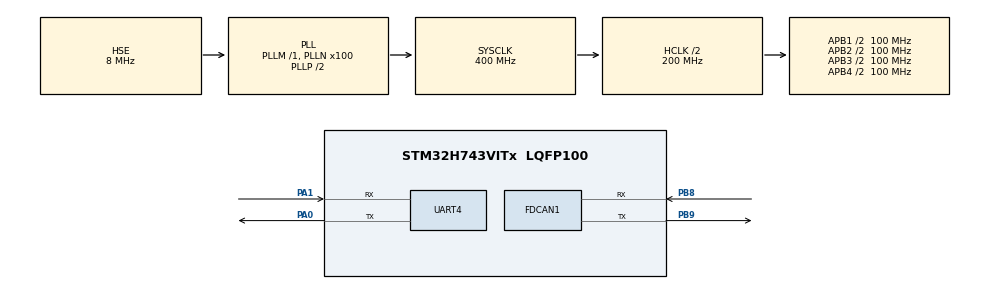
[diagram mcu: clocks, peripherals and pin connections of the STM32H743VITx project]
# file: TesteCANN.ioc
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FDCAN1.DataSyncJumpWidth=2
FDCAN1.DataTimeSeg1=13
FDCAN1.DataTimeSeg2=2
FDCAN1.NominalSyncJumpWidth=2
FDCAN1.NominalTimeSeg1=13
FDCAN1.RxBuffersNbr=32
FDCAN1.RxFifo0ElmtsNbr=32
FDCAN1.RxFifo1ElmtsNbr=32
FDCAN1.TxBuffersNbr=32
FDCAN1.TxEventsNbr=32
FDCAN1.TxFifoQueueElmtsNbr=32
Mcu.Family=STM32H7
Mcu.Name=STM32H743VITx
Mcu.Package=LQFP100
NVIC.FDCAN1_IT0_IRQn=true\:0\:0\:false\:false\:true\:true\:true
NVIC.FDCAN1_IT1_IRQn=true\:0\:0\:false\:false\:true\:true\:true
NVIC.PriorityGroup=NVIC_PRIORITYGROUP_4
PA0.Mode=Asynchronous
PA0.PinAttribute=Free
PA0.Signal=UART4_TX
PA1.Mode=Asynchronous
PA1.PinAttribute=Free
PA1.Signal=UART4_RX
PB8.Mode=FDCAN_Activate
PB8.PinAttribute=Free
PB8.Signal=FDCAN1_RX
PB9.Mode=FDCAN_Activate
PB9.PinAttribute=Free
PB9.Signal=FDCAN1_TX
PH0-OSC_IN\ (PH0).Mode=HSE-External-Oscillator
PH0-OSC_IN\ (PH0).Signal=RCC_OSC_IN
PH1-OSC_OUT\ (PH1).Mode=HSE-External-Oscillator
PH1-OSC_OUT\ (PH1).PinAttribute=Free
PH1-OSC_OUT\ (PH1).Signal=RCC_OSC_OUT
ProjectManager.HeapSize=0x200
ProjectManager.StackSize=0x400
ProjectManager.TargetToolchain=STM32CubeIDE
RCC.ADCCLockSelection=RCC_ADCCLKSOURCE_PLL2
RCC.ADCFreq_Value=80000000
RCC.APB1Freq_Value=100000000
RCC.APB2Freq_Value=100000000
RCC.APB3Freq_Value=100000000
RCC.APB4Freq_Value=100000000
RCC.CECCLockSelection=RCC_CECCLKSOURCE_LSI
RCC.CKPERSourceSelection=RCC_CLKPSOURCE_HSI
RCC.CSI_VALUE=4000000
RCC.CortexFreq_Value=400000000
RCC.Cortex_Div=SYSTICK_CLKSOURCE_HCLK
RCC.Cortex_DivARG=SystemCoreClock/1000
RCC.D1CPRE=RCC_SYSCLK_DIV1
RCC.D1PPRE=RCC_APB3_DIV2
RCC.D2PPRE1=RCC_APB1_DIV2
RCC.D2PPRE2=RCC_APB2_DIV2
RCC.D3PPRE=RCC_APB4_DIV2
RCC.DFSDMCLockSelection=RCC_DFSDM1CLKSOURCE_D2PCLK1
RCC.DIVM1=1
RCC.DIVM2=1
RCC.DIVM3=32
RCC.DIVN1=100
RCC.DIVN2=20
RCC.DIVN3=129
RCC.DIVP1=2
RCC.DIVP2=2
RCC.DIVP3=2
RCC.DIVQ1=4
RCC.DIVQ2=4
RCC.DIVQ3=2
RCC.DIVR1=2
RCC.DIVR2=2
RCC.DIVR3=2
RCC.DSICLockSelection=RCC_DSICLKSOURCE_PHY
RCC.DSIPHY_Div=8
RCC.DSITX_Div=4
RCC.DSI_PHY_VALUE=12288000
RCC.EXTERNAL_CLOCK_VALUE=12288000
RCC.FDCANCLockSelection=RCC_FDCANCLKSOURCE_HSE
RCC.FMCCLockSelection=RCC_FMCCLKSOURCE_D1HCLK
RCC.HCLKFreq_Value=200000000
RCC.HPRE=RCC_HCLK_DIV2
RCC.HSE_VALUE=8000000
RCC.HSIDiv=RCC_PLLSAIDIVR_1
RCC.HSI_VALUE=64000000
RCC.I2C123CLockSelection=RCC_I2C123CLKSOURCE_D2PCLK1
RCC.I2C4CLockSelection=RCC_I2C4CLKSOURCE_D3PCLK1
RCC.LPTIM1CLockSelection=RCC_LPTIM1CLKSOURCE_D2PCLK1
RCC.LPTIM2CLockSelection=RCC_LPTIM2CLKSOURCE_D3PCLK1
RCC.LPTIM345CLockSelection=RCC_LPTIM345CLKSOURCE_D3PCLK1
RCC.LPUART1CLockSelection=RCC_LPUART1CLKSOURCE_D3PCLK1
RCC.LSE_VALUE=32768
RCC.PLL1_VCI_Range-AdvancedSettings=RCC_PLL1VCIRANGE_0
RCC.PLL1_VCO_SEL-AdvancedSettings=RCC_PLL1VCOWIDE
RCC.PLL2FRACN=0
RCC.PLL2_VCI_Range-AdvancedSettings=RCC_PLL2VCIRANGE_3
RCC.PLL2_VCO_SEL-AdvancedSettings=RCC_PLL2VCOMEDIUM
RCC.PLL3_VCO_SEL-AdvancedSettings=RCC_PLL3VCOWIDE
RCC.PLLDSIDev=2
RCC.PLLDSIIDF=DSI_PLL_IN_DIV1
RCC.PLLDSIMult=2
RCC.PLLDSINDIV=20
RCC.PLLDSIODF=DSI_PLL_OUT_DIV1
RCC.PLLFRACN=0
RCC.PLLSourceVirtual=RCC_PLLSOURCE_HSE
RCC.QSPICLockSelection=RCC_QSPICLKSOURCE_D1HCLK
RCC.RC48_VALUE=48000000
RCC.RCC_MCO1Source=RCC_MCO1SOURCE_HSI
RCC.RCC_MCO2Source=RCC_MCO2SOURCE_SYSCLK
RCC.RCC_MCODiv1=RCC_MCODIV_1
RCC.RCC_MCODiv2=RCC_MCODIV_1
RCC.RCC_RTC_Clock_Source_FROM_HSE=RCC_RTCCLKSOURCE_HSE_DIV2
RCC.RNGCLockSelection=RCC_RNGCLKSOURCE_HSI48
RCC.SAI1CLockSelection=RCC_SAI1CLKSOURCE_PLL
RCC.SAI23CLockSelection=RCC_SAI23CLKSOURCE_PLL
RCC.SAI4ACLockSelection=RCC_SAI4ACLKSOURCE_PLL
RCC.SAI4BCLockSelection=RCC_SAI4BCLKSOURCE_PLL
RCC.SPDIFCLockSelection=RCC_SPDIFRXCLKSOURCE_PLL
RCC.SPI123CLockSelection=RCC_SPI123CLKSOURCE_PLL
RCC.SPI6CLockSelection=RCC_SPI6CLKSOURCE_D3PCLK1
RCC.SWPCLockSelection=RCC_SWPMI1CLKSOURCE_D2PCLK1
RCC.SYSCLKFreq_VALUE=400000000
RCC.SYSCLKSource=RCC_SYSCLKSOURCE_PLLCLK
RCC.Spi45ClockSelection=RCC_SPI45CLKSOURCE_D2PCLK1
RCC.USART16CLockSelection=RCC_USART16CLKSOURCE_D2PCLK2
RCC.USART234578CLockSelection=RCC_USART234578CLKSOURCE_D2PCLK1
RCC.USBCLockSelection=RCC_USBCLKSOURCE_PLL
RCC.USBFreq_Value=200000000
board=custom

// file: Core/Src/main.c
/* USER CODE BEGIN Header */
/**
  ******************************************************************************
  * @file           : main.c
  * @brief          : Main program body
  ******************************************************************************
  * @attention
  *
  * <h2><center>&copy; Copyright (c) 2021 STMicroelectronics.
  * All rights reserved.</center></h2>
  *
  * This software component is licensed by ST under BSD 3-Clause license,
  * the "License"; You may not use this file except in compliance with the
  * License. You may obtain a copy of the License at:
  *                        opensource.org/licenses/BSD-3-Clause
  *
  ******************************************************************************
  */
/* USER CODE END Header */
#include "main.h"

/* USER CODE BEGIN Includes */

#include <stdarg.h>
#include "general_can.h" //nova pasta a ser criada
#include "initializers.h" //nova pasta a ser criada
/* USER CODE END Includes */

FDCAN_HandleTypeDef hfdcan1;

UART_HandleTypeDef huart4;

/* USER CODE BEGIN PV */
extern uint8_t _accel_ok, _datalog_flag;
uint8_t ubKeyNumber = 0x0;
//FDCAN_HandleTypeDef hfdcan1;
//FDCAN_RxHeaderTypeDef RxHeader;
uint8_t RxData[8];
//FDCAN_TxHeaderTypeDef TxHeader;
uint8_t TxData[8];
UART_HandleTypeDef huart4;
/* USER CODE END PV */

void SystemClock_Config(void);
static void MX_GPIO_Init(void);
static void MX_FDCAN1_Init(void);
static void MX_UART4_Init(void);

/* USER CODE BEGIN 0 */
//o reset vai acender e o set vai apagar, por conta da lógica eletrônica (ver easyeda)
void LED (uint32_t c)
{
	if(c == 1)
		GPIOD->ODR &= ~ (1<<6); //reseta o pino PD6
	if(c == 0)
		GPIOD->ODR |= (1<<6); //seta o pino PD6
}
/* USER CODE END 0 */

int main(void)
{

  /* MCU Configuration--------------------------------------------------------*/

  /* Reset of all peripherals, Initializes the Flash interface and the Systick. */
  HAL_Init();

  /* Configure the system clock */
  SystemClock_Config();

  /* Initialize all configured peripherals */
  MX_GPIO_Init();
  MX_FDCAN1_Init();
  MX_UART4_Init();
  /* USER CODE BEGIN 2 */
  RCC->AHB4ENR |= (1<<3); //habilita o clock do GPIO
  GPIOD->MODER = (GPIOD->MODER & 0xFFFFDFFF); //seta o pino GPIOD6 como output
  GPIOD->OTYPER &= ~(0<<6); //configura o pino GPIOD6 como output push-pull
  GPIOD->OSPEEDR |= (1<<13); //configura a velocidade do pino GPIOD6como high speed
  GPIOD->PUPDR &= ~((1<<13) | (1<<12)); //configura o pino GPIOD6 como no pull-up no pull-down

  /* Infinite loop */
  /* USER CODE BEGIN WHILE */
  LED(0);

  init_CAN();
  /* USER CODE END 2 */

  /* Infinite loop */
  /* USER CODE BEGIN WHILE */
  LED(0);

  init_CAN();
  /* USER CODE END 2 */

  while (1)
  {
    /* USER CODE END WHILE */

  }
}

void SystemClock_Config(void)
{
  RCC_OscInitTypeDef RCC_OscInitStruct = {0};
  RCC_ClkInitTypeDef RCC_ClkInitStruct = {0};
  RCC_PeriphCLKInitTypeDef PeriphClkInitStruct = {0};

  /** Supply configuration update enable
  */
  HAL_PWREx_ConfigSupply(PWR_LDO_SUPPLY);
  /** Configure the main internal regulator output voltage
  */
  __HAL_PWR_VOLTAGESCALING_CONFIG(PWR_REGULATOR_VOLTAGE_SCALE1);

  while(!__HAL_PWR_GET_FLAG(PWR_FLAG_VOSRDY)) {}
  /** Initializes the RCC Oscillators according to the specified parameters
  * in the RCC_OscInitTypeDef structure.
  */
  RCC_OscInitStruct.OscillatorType = RCC_OSCILLATORTYPE_HSE;
  RCC_OscInitStruct.HSEState = RCC_HSE_ON;
  RCC_OscInitStruct.PLL.PLLState = RCC_PLL_ON;
  RCC_OscInitStruct.PLL.PLLSource = RCC_PLLSOURCE_HSE;
  RCC_OscInitStruct.PLL.PLLM = 1;
  RCC_OscInitStruct.PLL.PLLN = 100;
  RCC_OscInitStruct.PLL.PLLP = 2;
  RCC_OscInitStruct.PLL.PLLQ = 4;
  RCC_OscInitStruct.PLL.PLLR = 2;
  RCC_OscInitStruct.PLL.PLLRGE = RCC_PLL1VCIRANGE_3;
  RCC_OscInitStruct.PLL.PLLVCOSEL = RCC_PLL1VCOWIDE;
  RCC_OscInitStruct.PLL.PLLFRACN = 0;
  if (HAL_RCC_OscConfig(&RCC_OscInitStruct) != HAL_OK)
  {
    Error_Handler();
  }
  /** Initializes the CPU, AHB and APB buses clocks
  */
  RCC_ClkInitStruct.ClockType = RCC_CLOCKTYPE_HCLK|RCC_CLOCKTYPE_SYSCLK
                              |RCC_CLOCKTYPE_PCLK1|RCC_CLOCKTYPE_PCLK2
                              |RCC_CLOCKTYPE_D3PCLK1|RCC_CLOCKTYPE_D1PCLK1;
  RCC_ClkInitStruct.SYSCLKSource = RCC_SYSCLKSOURCE_PLLCLK;
  RCC_ClkInitStruct.SYSCLKDivider = RCC_SYSCLK_DIV1;
  RCC_ClkInitStruct.AHBCLKDivider = RCC_HCLK_DIV2;
  RCC_ClkInitStruct.APB3CLKDivider = RCC_APB3_DIV2;
  RCC_ClkInitStruct.APB1CLKDivider = RCC_APB1_DIV2;
  RCC_ClkInitStruct.APB2CLKDivider = RCC_APB2_DIV2;
  RCC_ClkInitStruct.APB4CLKDivider = RCC_APB4_DIV2;

  if (HAL_RCC_ClockConfig(&RCC_ClkInitStruct, FLASH_LATENCY_2) != HAL_OK)
  {
    Error_Handler();
  }
  PeriphClkInitStruct.PeriphClockSelection = RCC_PERIPHCLK_UART4|RCC_PERIPHCLK_FDCAN;
  PeriphClkInitStruct.FdcanClockSelection = RCC_FDCANCLKSOURCE_HSE;
  PeriphClkInitStruct.Usart234578ClockSelection = RCC_USART234578CLKSOURCE_D2PCLK1;
  if (HAL_RCCEx_PeriphCLKConfig(&PeriphClkInitStruct) != HAL_OK)
  {
    Error_Handler();
  }
}

static void MX_FDCAN1_Init(void)
{

  hfdcan1.Instance = FDCAN1;
  hfdcan1.Init.FrameFormat = FDCAN_FRAME_CLASSIC;
  hfdcan1.Init.Mode = FDCAN_MODE_NORMAL;
  hfdcan1.Init.AutoRetransmission = DISABLE;
  hfdcan1.Init.TransmitPause = DISABLE;
  hfdcan1.Init.ProtocolException = DISABLE;
  hfdcan1.Init.NominalPrescaler = 1;
  hfdcan1.Init.NominalSyncJumpWidth = 2;
  hfdcan1.Init.NominalTimeSeg1 = 13;
  hfdcan1.Init.NominalTimeSeg2 = 2;
  hfdcan1.Init.DataPrescaler = 1;
  hfdcan1.Init.DataSyncJumpWidth = 2;
  hfdcan1.Init.DataTimeSeg1 = 13;
  hfdcan1.Init.DataTimeSeg2 = 2;
  hfdcan1.Init.MessageRAMOffset = 0;
  hfdcan1.Init.StdFiltersNbr = 0;
  hfdcan1.Init.ExtFiltersNbr = 0;
  hfdcan1.Init.RxFifo0ElmtsNbr = 32;
  hfdcan1.Init.RxFifo0ElmtSize = FDCAN_DATA_BYTES_8;
  hfdcan1.Init.RxFifo1ElmtsNbr = 32;
  hfdcan1.Init.RxFifo1ElmtSize = FDCAN_DATA_BYTES_8;
  hfdcan1.Init.RxBuffersNbr = 32;
  hfdcan1.Init.RxBufferSize = FDCAN_DATA_BYTES_8;
  hfdcan1.Init.TxEventsNbr = 32;
  hfdcan1.Init.TxBuffersNbr = 32;
  hfdcan1.Init.TxFifoQueueElmtsNbr = 32;
  hfdcan1.Init.TxFifoQueueMode = FDCAN_TX_FIFO_OPERATION;
  hfdcan1.Init.TxElmtSize = FDCAN_DATA_BYTES_8;
  if (HAL_FDCAN_Init(&hfdcan1) != HAL_OK)
  {
    Error_Handler();
  }

}

static void MX_UART4_Init(void)
{

  huart4.Instance = UART4;
  huart4.Init.BaudRate = 115200;
  huart4.Init.WordLength = UART_WORDLENGTH_8B;
  huart4.Init.StopBits = UART_STOPBITS_1;
  huart4.Init.Parity = UART_PARITY_NONE;
  huart4.Init.Mode = UART_MODE_TX_RX;
  huart4.Init.HwFlowCtl = UART_HWCONTROL_NONE;
  huart4.Init.OverSampling = UART_OVERSAMPLING_16;
  huart4.Init.OneBitSampling = UART_ONE_BIT_SAMPLE_DISABLE;
  huart4.Init.ClockPrescaler = UART_PRESCALER_DIV1;
  huart4.AdvancedInit.AdvFeatureInit = UART_ADVFEATURE_NO_INIT;
  if (HAL_UART_Init(&huart4) != HAL_OK)
  {
    Error_Handler();
  }
  if (HAL_UARTEx_SetTxFifoThreshold(&huart4, UART_TXFIFO_THRESHOLD_1_8) != HAL_OK)
  {
    Error_Handler();
  }
  if (HAL_UARTEx_SetRxFifoThreshold(&huart4, UART_RXFIFO_THRESHOLD_1_8) != HAL_OK)
  {
    Error_Handler();
  }
  if (HAL_UARTEx_DisableFifoMode(&huart4) != HAL_OK)
  {
    Error_Handler();
  }

}

static void MX_GPIO_Init(void)
{

  /* GPIO Ports Clock Enable */
  __HAL_RCC_GPIOH_CLK_ENABLE();
  __HAL_RCC_GPIOA_CLK_ENABLE();
  __HAL_RCC_GPIOB_CLK_ENABLE();

}

void Error_Handler(void)
{
  __disable_irq();
  while (1)
  {
  }
}

/************************ (C) COPYRIGHT STMicroelectronics *****END OF FILE****/
